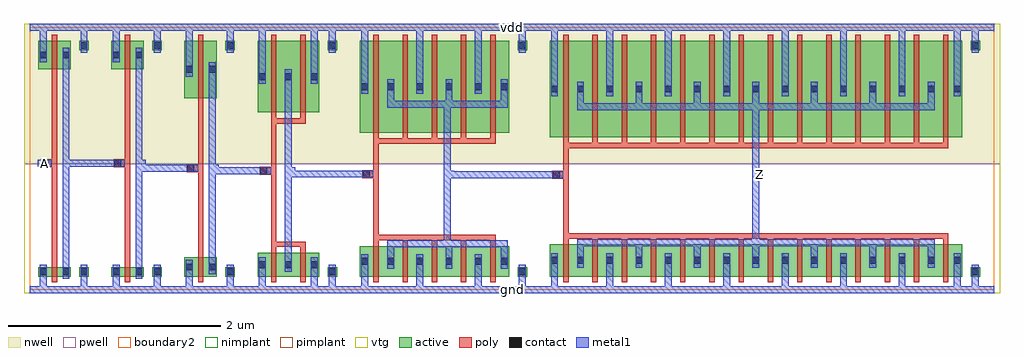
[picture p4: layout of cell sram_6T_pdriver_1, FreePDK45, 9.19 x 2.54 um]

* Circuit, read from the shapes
.subckt sram_6T_pdriver_1 A Z gnd vdd
M1 sram_6T_pinv_1_1/A A gnd gnd nfet w=0.09u l=0.05u
M2 sram_6T_pinv_8_2/A sram_6T_pinv_1_1/A gnd gnd nfet w=0.09u l=0.05u
M3 sram_6T_pinv_9_3/A sram_6T_pinv_8_2/A gnd gnd nfet w=0.18u l=0.05u
M4 sram_6T_pinv_10_4/A sram_6T_pinv_9_3/A gnd gnd nfet w=0.225u l=0.05u m=2
M5 sram_6T_pinv_11_5/A sram_6T_pinv_10_4/A gnd gnd nfet w=0.2875u l=0.05u m=5
M6 Z sram_6T_pinv_11_5/A gnd gnd nfet w=0.3025u l=0.05u m=14
M7 sram_6T_pinv_1_1/A A vdd vdd pfet w=0.27u l=0.05u
M8 sram_6T_pinv_8_2/A sram_6T_pinv_1_1/A vdd vdd pfet w=0.27u l=0.05u
M9 sram_6T_pinv_9_3/A sram_6T_pinv_8_2/A vdd vdd pfet w=0.54u l=0.05u
M10 sram_6T_pinv_10_4/A sram_6T_pinv_9_3/A vdd vdd pfet w=0.675u l=0.05u m=2
M11 sram_6T_pinv_11_5/A sram_6T_pinv_10_4/A vdd vdd pfet w=0.865u l=0.05u m=5
M12 Z sram_6T_pinv_11_5/A vdd vdd pfet w=0.9075u l=0.05u m=14
.ends

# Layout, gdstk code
import gdstk
lib = gdstk.Library(unit=1e-6, precision=5e-10)
def R(c, l, rs):  # rectangles x0, y0, x1, y1
    for r in rs: c.add(gdstk.rectangle(r[:2], r[2:], *l))
def A(c, l, x, y, w, h, nx, ny, dx, dy):  # array of equal rectangles
    R(c, l, [(x+i*dx, y+j*dy, x+i*dx+w, y+j*dy+h) for i in range(nx) for j in range(ny)])
active = (1, 0)
pwell = (2, 0)
nwell = (3, 0)
nimplant = (4, 0)
pimplant = (5, 0)
vtg = (6, 0)
poly = (9, 0)
contact = (10, 0)
metal1 = (11, 0)
boundary2 = (239, 0)

sram_6t_contact_11 = lib.new_cell('sram_6T_contact_11')
R(sram_6t_contact_11, active, [(0,0.0225,0.09,0.1125)])
R(sram_6t_contact_11, nwell, [(-0.055,-0.0325,0.145,0.1675)])
R(sram_6t_contact_11, pimplant, [(0,0.0225,0.09,0.1125)])
R(sram_6t_contact_11, contact, [(0.0125,0.035,0.0775,0.1)])
R(sram_6t_contact_11, metal1, [(0.0125,0,0.0775,0.135)])
R(sram_6t_contact_11, boundary2, [(-0.055,-0.0325,0.145,0.1675)])

sram_6t_pmos_m1_w0_270_s = lib.new_cell('sram_6T_pmos_m1_w0_270_sm1_dm1_da_p')
R(sram_6t_pmos_m1_w0_270_s, active, [(0,0,0.305,0.27)])
R(sram_6t_pmos_m1_w0_270_s, nwell, [(-0.08,-0.08,0.385,0.35)])
R(sram_6t_pmos_m1_w0_270_s, pimplant, [(0,0,0.305,0.27)])
R(sram_6t_pmos_m1_w0_270_s, vtg, [(-0.08,-0.08,0.385,0.35)])
R(sram_6t_pmos_m1_w0_270_s, poly, [(0.1275,-0.055,0.1775,0.325), (0.1275,-0.055,0.1775,0.325)])
R(sram_6t_pmos_m1_w0_270_s, metal1, [(0.0125,0.0675,0.0775,0.2025), (0.2275,0.0675,0.2925,0.2025)])
R(sram_6t_pmos_m1_w0_270_s, boundary2, [(-0.08,-0.08,0.385,0.35)])
sram_6t_pmos_m1_w0_270_s.add(gdstk.Reference(sram_6t_contact_11, (0,0.0675)))
sram_6t_pmos_m1_w0_270_s.add(gdstk.Reference(sram_6t_contact_11, (0.215,0.0675)))
sram_6t_pmos_m1_w0_270_s.add(gdstk.Label('G', (0.1525,0.135), layer=9, texttype=0))
sram_6t_pmos_m1_w0_270_s.add(gdstk.Label('S', (0.045,0.135), layer=11, texttype=0))
sram_6t_pmos_m1_w0_270_s.add(gdstk.Label('D', (0.26,0.135), layer=11, texttype=0))

sram_6t_contact_10 = lib.new_cell('sram_6T_contact_10')
R(sram_6t_contact_10, active, [(0,0.0225,0.09,0.1125)])
R(sram_6t_contact_10, pwell, [(-0.055,-0.0325,0.145,0.1675)])
R(sram_6t_contact_10, nimplant, [(0,0.0225,0.09,0.1125)])
R(sram_6t_contact_10, contact, [(0.0125,0.035,0.0775,0.1)])
R(sram_6t_contact_10, metal1, [(0.0125,0,0.0775,0.135)])
R(sram_6t_contact_10, boundary2, [(-0.055,-0.0325,0.145,0.1675)])

sram_6t_nmos_m1_w0_090_s = lib.new_cell('sram_6T_nmos_m1_w0_090_sm1_dm1_da_p')
R(sram_6t_nmos_m1_w0_090_s, active, [(0,0,0.305,0.09)])
R(sram_6t_nmos_m1_w0_090_s, pwell, [(-0.08,-0.08,0.385,0.17)])
R(sram_6t_nmos_m1_w0_090_s, nimplant, [(0,0,0.305,0.09)])
R(sram_6t_nmos_m1_w0_090_s, vtg, [(-0.08,-0.08,0.385,0.17)])
R(sram_6t_nmos_m1_w0_090_s, poly, [(0.1275,-0.055,0.1775,0.145), (0.1275,-0.055,0.1775,0.145)])
R(sram_6t_nmos_m1_w0_090_s, metal1, [(0.0125,-0.0225,0.0775,0.1125), (0.2275,-0.0225,0.2925,0.1125)])
R(sram_6t_nmos_m1_w0_090_s, boundary2, [(-0.08,-0.08,0.385,0.17)])
sram_6t_nmos_m1_w0_090_s.add(gdstk.Reference(sram_6t_contact_10, (0,-0.0225)))
sram_6t_nmos_m1_w0_090_s.add(gdstk.Reference(sram_6t_contact_10, (0.215,-0.0225)))
sram_6t_nmos_m1_w0_090_s.add(gdstk.Label('G', (0.1525,0.045), layer=9, texttype=0))
sram_6t_nmos_m1_w0_090_s.add(gdstk.Label('S', (0.045,0.045), layer=11, texttype=0))
sram_6t_nmos_m1_w0_090_s.add(gdstk.Label('D', (0.26,0.045), layer=11, texttype=0))

sram_6t_contact_12 = lib.new_cell('sram_6T_contact_12')
R(sram_6t_contact_12, active, [(0,0.0225,0.09,0.1125)])
R(sram_6t_contact_12, nwell, [(-0.055,-0.0325,0.145,0.1675)])
R(sram_6t_contact_12, nimplant, [(0,0.0225,0.09,0.1125)])
R(sram_6t_contact_12, contact, [(0.0125,0.035,0.0775,0.1)])
R(sram_6t_contact_12, metal1, [(0.0125,0,0.0775,0.135)])
R(sram_6t_contact_12, boundary2, [(-0.055,-0.0325,0.145,0.1675)])

sram_6t_contact_13 = lib.new_cell('sram_6T_contact_13')
R(sram_6t_contact_13, active, [(0,0.0225,0.09,0.1125)])
R(sram_6t_contact_13, pwell, [(-0.055,-0.0325,0.145,0.1675)])
R(sram_6t_contact_13, pimplant, [(0,0.0225,0.09,0.1125)])
R(sram_6t_contact_13, contact, [(0.0125,0.035,0.0775,0.1)])
R(sram_6t_contact_13, metal1, [(0.0125,0,0.0775,0.135)])
R(sram_6t_contact_13, boundary2, [(-0.055,-0.0325,0.145,0.1675)])

sram_6t_contact_14 = lib.new_cell('sram_6T_contact_14')
R(sram_6t_contact_14, poly, [(0.03,0,0.105,0.075)])
R(sram_6t_contact_14, contact, [(0.035,0.005,0.1,0.07)])
R(sram_6t_contact_14, metal1, [(0,0.005,0.135,0.07)])
R(sram_6t_contact_14, boundary2, [(0,0,0.135,0.075)])

sram_6t_pinv_1 = lib.new_cell('sram_6T_pinv_1')
R(sram_6t_pinv_1, pwell, [(-0.055,-0.0325,0.7425,1.185)])
R(sram_6t_pinv_1, nwell, [(-0.055,1.185,0.7425,2.505)])
R(sram_6t_pinv_1, vtg, [(-0.055,-0.0325,0.7425,1.185), (-0.055,1.185,0.7425,2.505)])
R(sram_6t_pinv_1, poly, [(0.2075,0.27,0.2575,2.02), (0.14,1.1525,0.2075,1.2275)])
R(sram_6t_pinv_1, metal1, [(0,-0.0325,0.6875,0.0325), (0.0925,-0.0325,0.1575,0.1025), (0.4775,0,0.5425,0.17), (0.3075,0.1025,0.3725,2.2775), (0.0725,1.1575,0.2075,1.2225), (0.34,1.1575,0.405,1.2225), (0.0925,2.1425,0.1575,2.5025), (0.4775,2.3,0.5425,2.47), (0,2.4375,0.6875,2.5025)])
R(sram_6t_pinv_1, boundary2, [(0,0,0.6875,2.47), (0,0,0.6875,2.47)])
sram_6t_pinv_1.add(gdstk.Reference(sram_6t_pmos_m1_w0_270_s, (0.08,2.075)))
sram_6t_pinv_1.add(gdstk.Reference(sram_6t_nmos_m1_w0_090_s, (0.08,0.125)))
sram_6t_pinv_1.add(gdstk.Reference(sram_6t_contact_12, (0.465,2.2325)))
sram_6t_pinv_1.add(gdstk.Reference(sram_6t_contact_13, (0.465,0.1025)))
sram_6t_pinv_1.add(gdstk.Reference(sram_6t_contact_14, (0.0725,1.1525)))
sram_6t_pinv_1.add(gdstk.Label('A', (0.14,1.19), layer=11, texttype=0))
sram_6t_pinv_1.add(gdstk.Label('Z', (0.3725,1.19), layer=11, texttype=0))
sram_6t_pinv_1.add(gdstk.Label('gnd', (0.344,0), layer=11, texttype=0))
sram_6t_pinv_1.add(gdstk.Label('vdd', (0.344,2.47), layer=11, texttype=0))

sram_6t_pmos_m1_w0_540_s = lib.new_cell('sram_6T_pmos_m1_w0_540_sm1_dm1_da_p')
R(sram_6t_pmos_m1_w0_540_s, active, [(0,0,0.305,0.54)])
R(sram_6t_pmos_m1_w0_540_s, nwell, [(-0.08,-0.08,0.385,0.62)])
R(sram_6t_pmos_m1_w0_540_s, pimplant, [(0,0,0.305,0.54)])
R(sram_6t_pmos_m1_w0_540_s, vtg, [(-0.08,-0.08,0.385,0.62)])
R(sram_6t_pmos_m1_w0_540_s, poly, [(0.1275,-0.055,0.1775,0.595), (0.1275,-0.055,0.1775,0.595)])
R(sram_6t_pmos_m1_w0_540_s, metal1, [(0.0125,0.2025,0.0775,0.3375), (0.2275,0.2025,0.2925,0.3375)])
R(sram_6t_pmos_m1_w0_540_s, boundary2, [(-0.08,-0.08,0.385,0.62)])
sram_6t_pmos_m1_w0_540_s.add(gdstk.Reference(sram_6t_contact_11, (0,0.2025)))
sram_6t_pmos_m1_w0_540_s.add(gdstk.Reference(sram_6t_contact_11, (0.215,0.2025)))
sram_6t_pmos_m1_w0_540_s.add(gdstk.Label('G', (0.1525,0.27), layer=9, texttype=0))
sram_6t_pmos_m1_w0_540_s.add(gdstk.Label('S', (0.045,0.27), layer=11, texttype=0))
sram_6t_pmos_m1_w0_540_s.add(gdstk.Label('D', (0.26,0.27), layer=11, texttype=0))

sram_6t_nmos_m1_w0_180_s = lib.new_cell('sram_6T_nmos_m1_w0_180_sm1_dm1_da_p')
R(sram_6t_nmos_m1_w0_180_s, active, [(0,0,0.305,0.18)])
R(sram_6t_nmos_m1_w0_180_s, pwell, [(-0.08,-0.08,0.385,0.26)])
R(sram_6t_nmos_m1_w0_180_s, nimplant, [(0,0,0.305,0.18)])
R(sram_6t_nmos_m1_w0_180_s, vtg, [(-0.08,-0.08,0.385,0.26)])
R(sram_6t_nmos_m1_w0_180_s, poly, [(0.1275,-0.055,0.1775,0.235), (0.1275,-0.055,0.1775,0.235)])
R(sram_6t_nmos_m1_w0_180_s, metal1, [(0.0125,0.0225,0.0775,0.1575), (0.2275,0.0225,0.2925,0.1575)])
R(sram_6t_nmos_m1_w0_180_s, boundary2, [(-0.08,-0.08,0.385,0.26)])
sram_6t_nmos_m1_w0_180_s.add(gdstk.Reference(sram_6t_contact_10, (0,0.0225)))
sram_6t_nmos_m1_w0_180_s.add(gdstk.Reference(sram_6t_contact_10, (0.215,0.0225)))
sram_6t_nmos_m1_w0_180_s.add(gdstk.Label('G', (0.1525,0.09), layer=9, texttype=0))
sram_6t_nmos_m1_w0_180_s.add(gdstk.Label('S', (0.045,0.09), layer=11, texttype=0))
sram_6t_nmos_m1_w0_180_s.add(gdstk.Label('D', (0.26,0.09), layer=11, texttype=0))

sram_6t_pinv_8 = lib.new_cell('sram_6T_pinv_8')
R(sram_6t_pinv_8, pwell, [(-0.055,-0.0325,0.7425,1.185)])
R(sram_6t_pinv_8, nwell, [(-0.055,1.185,0.7425,2.505)])
R(sram_6t_pinv_8, vtg, [(-0.055,-0.0325,0.7425,1.185), (-0.055,1.185,0.7425,2.505)])
R(sram_6t_pinv_8, poly, [(0.2075,0.36,0.2575,1.75), (0.14,1.1075,0.2075,1.1825)])
R(sram_6t_pinv_8, metal1, [(0,-0.0325,0.6875,0.0325), (0.0925,-0.0325,0.1575,0.1475), (0.4775,0,0.5425,0.17), (0.3075,0.1475,0.3725,2.1425), (0.0725,1.1125,0.2075,1.1775), (0.34,1.1125,0.405,1.1775), (0.0925,2.0075,0.1575,2.5025), (0.4775,2.3,0.5425,2.47), (0,2.4375,0.6875,2.5025)])
R(sram_6t_pinv_8, boundary2, [(0,0,0.6875,2.47), (0,0,0.6875,2.47)])
sram_6t_pinv_8.add(gdstk.Reference(sram_6t_pmos_m1_w0_540_s, (0.08,1.805)))
sram_6t_pinv_8.add(gdstk.Reference(sram_6t_nmos_m1_w0_180_s, (0.08,0.125)))
sram_6t_pinv_8.add(gdstk.Reference(sram_6t_contact_12, (0.465,2.2325)))
sram_6t_pinv_8.add(gdstk.Reference(sram_6t_contact_13, (0.465,0.1025)))
sram_6t_pinv_8.add(gdstk.Reference(sram_6t_contact_14, (0.0725,1.1075)))
sram_6t_pinv_8.add(gdstk.Label('A', (0.14,1.145), layer=11, texttype=0))
sram_6t_pinv_8.add(gdstk.Label('Z', (0.3725,1.145), layer=11, texttype=0))
sram_6t_pinv_8.add(gdstk.Label('gnd', (0.344,0), layer=11, texttype=0))
sram_6t_pinv_8.add(gdstk.Label('vdd', (0.344,2.47), layer=11, texttype=0))

sram_6t_pmos_m2_w0_675_s = lib.new_cell('sram_6T_pmos_m2_w0_675_sm1_dm1_da_p')
R(sram_6t_pmos_m2_w0_675_s, active, [(0,0,0.58,0.675)])
R(sram_6t_pmos_m2_w0_675_s, nwell, [(-0.08,-0.08,0.66,0.755)])
R(sram_6t_pmos_m2_w0_675_s, pimplant, [(0,0,0.58,0.675)])
R(sram_6t_pmos_m2_w0_675_s, vtg, [(-0.08,-0.08,0.66,0.755)])
R(sram_6t_pmos_m2_w0_675_s, poly, [(0.1275,-0.105,0.4525,-0.055), (0.1275,-0.055,0.1775,0.73), (0.4025,-0.055,0.4525,0.73)])
A(sram_6t_pmos_m2_w0_675_s, metal1, 0.0125, 0.27, 0.065, 0.135, 3, 1, 0.245, 0)
R(sram_6t_pmos_m2_w0_675_s, boundary2, [(-0.08,-0.105,0.66,0.755)])
sram_6t_pmos_m2_w0_675_s.add(gdstk.Reference(sram_6t_contact_11, (0,0.27)))
sram_6t_pmos_m2_w0_675_s.add(gdstk.Reference(sram_6t_contact_11, (0.245,0.27)))
sram_6t_pmos_m2_w0_675_s.add(gdstk.Reference(sram_6t_contact_11, (0.49,0.27)))
sram_6t_pmos_m2_w0_675_s.add(gdstk.Label('G', (0.29,-0.08), layer=9, texttype=0))
sram_6t_pmos_m2_w0_675_s.add(gdstk.Label('S', (0.045,0.3375), layer=11, texttype=0))
sram_6t_pmos_m2_w0_675_s.add(gdstk.Label('S', (0.535,0.3375), layer=11, texttype=0))
sram_6t_pmos_m2_w0_675_s.add(gdstk.Label('D', (0.29,0.3375), layer=11, texttype=0))

sram_6t_nmos_m2_w0_225_s = lib.new_cell('sram_6T_nmos_m2_w0_225_sm1_dm1_da_p')
R(sram_6t_nmos_m2_w0_225_s, active, [(0,0,0.58,0.225)])
R(sram_6t_nmos_m2_w0_225_s, pwell, [(-0.08,-0.08,0.66,0.305)])
R(sram_6t_nmos_m2_w0_225_s, nimplant, [(0,0,0.58,0.225)])
R(sram_6t_nmos_m2_w0_225_s, vtg, [(-0.08,-0.08,0.66,0.305)])
R(sram_6t_nmos_m2_w0_225_s, poly, [(0.1275,-0.055,0.1775,0.28), (0.4025,-0.055,0.4525,0.28), (0.1275,0.28,0.4525,0.33)])
A(sram_6t_nmos_m2_w0_225_s, metal1, 0.0125, 0.045, 0.065, 0.135, 3, 1, 0.245, 0)
R(sram_6t_nmos_m2_w0_225_s, boundary2, [(-0.08,-0.08,0.66,0.33)])
sram_6t_nmos_m2_w0_225_s.add(gdstk.Reference(sram_6t_contact_10, (0,0.045)))
sram_6t_nmos_m2_w0_225_s.add(gdstk.Reference(sram_6t_contact_10, (0.245,0.045)))
sram_6t_nmos_m2_w0_225_s.add(gdstk.Reference(sram_6t_contact_10, (0.49,0.045)))
sram_6t_nmos_m2_w0_225_s.add(gdstk.Label('G', (0.29,0.305), layer=9, texttype=0))
sram_6t_nmos_m2_w0_225_s.add(gdstk.Label('S', (0.045,0.1125), layer=11, texttype=0))
sram_6t_nmos_m2_w0_225_s.add(gdstk.Label('S', (0.535,0.1125), layer=11, texttype=0))
sram_6t_nmos_m2_w0_225_s.add(gdstk.Label('D', (0.29,0.1125), layer=11, texttype=0))

sram_6t_pinv_9 = lib.new_cell('sram_6T_pinv_9')
R(sram_6t_pinv_9, pwell, [(-0.055,-0.0325,1.0175,1.185)])
R(sram_6t_pinv_9, nwell, [(-0.055,1.185,1.0175,2.505)])
R(sram_6t_pinv_9, vtg, [(-0.055,-0.0325,1.0175,1.185), (-0.055,1.185,1.0175,2.505)])
R(sram_6t_pinv_9, poly, [(0.2075,0.455,0.2575,1.565), (0.14,1.085,0.2075,1.16)])
R(sram_6t_pinv_9, metal1, [(0,-0.0325,0.9625,0.0325), (0.0925,-0.0325,0.1575,0.17), (0.5825,-0.0325,0.6475,0.17), (0.7525,0,0.8175,0.17), (0.3375,0.17,0.4025,2.075), (0.0725,1.09,0.2075,1.155), (0.37,1.09,0.435,1.155), (0.0925,1.94,0.1575,2.5025), (0.5825,1.94,0.6475,2.5025), (0.7525,2.3,0.8175,2.47), (0,2.4375,0.9625,2.5025)])
R(sram_6t_pinv_9, boundary2, [(0,0,0.9625,2.47), (0,0,0.9625,2.47)])
sram_6t_pinv_9.add(gdstk.Reference(sram_6t_pmos_m2_w0_675_s, (0.08,1.67)))
sram_6t_pinv_9.add(gdstk.Reference(sram_6t_nmos_m2_w0_225_s, (0.08,0.125)))
sram_6t_pinv_9.add(gdstk.Reference(sram_6t_contact_12, (0.74,2.2325)))
sram_6t_pinv_9.add(gdstk.Reference(sram_6t_contact_13, (0.74,0.1025)))
sram_6t_pinv_9.add(gdstk.Reference(sram_6t_contact_14, (0.0725,1.085)))
sram_6t_pinv_9.add(gdstk.Label('A', (0.14,1.1225), layer=11, texttype=0))
sram_6t_pinv_9.add(gdstk.Label('Z', (0.4025,1.1225), layer=11, texttype=0))
sram_6t_pinv_9.add(gdstk.Label('gnd', (0.481,0), layer=11, texttype=0))
sram_6t_pinv_9.add(gdstk.Label('vdd', (0.481,2.47), layer=11, texttype=0))

sram_6t_pmos_m5_w0_865_s = lib.new_cell('sram_6T_pmos_m5_w0_865_sm1_dm1_da_p')
R(sram_6t_pmos_m5_w0_865_s, active, [(0,0,1.405,0.865)])
R(sram_6t_pmos_m5_w0_865_s, nwell, [(-0.08,-0.08,1.485,0.945)])
R(sram_6t_pmos_m5_w0_865_s, pimplant, [(0,0,1.405,0.865)])
R(sram_6t_pmos_m5_w0_865_s, vtg, [(-0.08,-0.08,1.485,0.945)])
A(sram_6t_pmos_m5_w0_865_s, poly, 0.1275, -0.055, 0.05, 0.975, 5, 1, 0.275, 0)
R(sram_6t_pmos_m5_w0_865_s, poly, [(0.1275,-0.105,1.2775,-0.055)])
R(sram_6t_pmos_m5_w0_865_s, metal1, [(0.2575,0.235,1.3925,0.3), (0.2575,0.2675,0.3225,0.4325), (0.8075,0.2675,0.8725,0.4325), (1.3275,0.2675,1.3925,0.4325), (0.0125,0.365,0.0775,0.5), (0.5325,0.365,0.5975,0.5), (1.0825,0.365,1.1475,0.5)])
R(sram_6t_pmos_m5_w0_865_s, boundary2, [(-0.08,-0.105,1.485,0.945)])
sram_6t_pmos_m5_w0_865_s.add(gdstk.Reference(sram_6t_contact_11, (0,0.365)))
sram_6t_pmos_m5_w0_865_s.add(gdstk.Reference(sram_6t_contact_11, (0.245,0.365)))
sram_6t_pmos_m5_w0_865_s.add(gdstk.Reference(sram_6t_contact_11, (0.52,0.365)))
sram_6t_pmos_m5_w0_865_s.add(gdstk.Reference(sram_6t_contact_11, (0.795,0.365)))
sram_6t_pmos_m5_w0_865_s.add(gdstk.Reference(sram_6t_contact_11, (1.07,0.365)))
sram_6t_pmos_m5_w0_865_s.add(gdstk.Reference(sram_6t_contact_11, (1.315,0.365)))
sram_6t_pmos_m5_w0_865_s.add(gdstk.Label('G', (0.7025,-0.08), layer=9, texttype=0))
sram_6t_pmos_m5_w0_865_s.add(gdstk.Label('S', (1.115,0.4325), layer=11, texttype=0))
sram_6t_pmos_m5_w0_865_s.add(gdstk.Label('S', (0.045,0.4325), layer=11, texttype=0))
sram_6t_pmos_m5_w0_865_s.add(gdstk.Label('S', (0.565,0.4325), layer=11, texttype=0))
sram_6t_pmos_m5_w0_865_s.add(gdstk.Label('D', (0.825,0.2675), layer=11, texttype=0))

sram_6t_nmos_m5_w0_288_s = lib.new_cell('sram_6T_nmos_m5_w0_288_sm1_dm1_da_p')
R(sram_6t_nmos_m5_w0_288_s, active, [(0,0,1.405,0.2875)])
R(sram_6t_nmos_m5_w0_288_s, pwell, [(-0.08,-0.08,1.485,0.3675)])
R(sram_6t_nmos_m5_w0_288_s, nimplant, [(0,0,1.405,0.2875)])
R(sram_6t_nmos_m5_w0_288_s, vtg, [(-0.08,-0.08,1.485,0.3675)])
A(sram_6t_nmos_m5_w0_288_s, poly, 0.1275, -0.055, 0.05, 0.3975, 5, 1, 0.275, 0)
R(sram_6t_nmos_m5_w0_288_s, poly, [(0.1275,0.3425,1.2775,0.3925)])
R(sram_6t_nmos_m5_w0_288_s, metal1, [(0.0125,0.075,0.0775,0.21), (0.5325,0.075,0.5975,0.21), (1.0825,0.075,1.1475,0.21), (0.2575,0.145,0.3225,0.31), (0.8075,0.145,0.8725,0.31), (1.3275,0.145,1.3925,0.31), (0.2575,0.275,1.3925,0.34)])
R(sram_6t_nmos_m5_w0_288_s, boundary2, [(-0.08,-0.08,1.485,0.3925)])
sram_6t_nmos_m5_w0_288_s.add(gdstk.Reference(sram_6t_contact_10, (0,0.075)))
sram_6t_nmos_m5_w0_288_s.add(gdstk.Reference(sram_6t_contact_10, (0.245,0.075)))
sram_6t_nmos_m5_w0_288_s.add(gdstk.Reference(sram_6t_contact_10, (0.52,0.075)))
sram_6t_nmos_m5_w0_288_s.add(gdstk.Reference(sram_6t_contact_10, (0.795,0.075)))
sram_6t_nmos_m5_w0_288_s.add(gdstk.Reference(sram_6t_contact_10, (1.07,0.075)))
sram_6t_nmos_m5_w0_288_s.add(gdstk.Reference(sram_6t_contact_10, (1.315,0.075)))
sram_6t_nmos_m5_w0_288_s.add(gdstk.Label('G', (0.7025,0.3675), layer=9, texttype=0))
sram_6t_nmos_m5_w0_288_s.add(gdstk.Label('S', (0.045,0.1425), layer=11, texttype=0))
sram_6t_nmos_m5_w0_288_s.add(gdstk.Label('S', (1.115,0.1425), layer=11, texttype=0))
sram_6t_nmos_m5_w0_288_s.add(gdstk.Label('S', (0.565,0.1425), layer=11, texttype=0))
sram_6t_nmos_m5_w0_288_s.add(gdstk.Label('D', (0.825,0.3075), layer=11, texttype=0))

sram_6t_pinv_10 = lib.new_cell('sram_6T_pinv_10')
R(sram_6t_pinv_10, pwell, [(-0.055,-0.0325,1.8425,1.185)])
R(sram_6t_pinv_10, nwell, [(-0.055,1.185,1.8425,2.505)])
R(sram_6t_pinv_10, vtg, [(-0.055,-0.0325,1.8425,1.185), (-0.055,1.185,1.8425,2.505)])
R(sram_6t_pinv_10, poly, [(0.2075,0.5175,0.2575,1.375), (0.14,1.0525,0.2075,1.1275)])
R(sram_6t_pinv_10, metal1, [(0,-0.0325,1.7875,0.0325), (0.0925,-0.0325,0.1575,0.2), (0.6125,-0.0325,0.6775,0.2), (1.1625,-0.0325,1.2275,0.2), (1.5775,0,1.6425,0.17), (0.8725,0.4,0.9375,1.78), (0.0725,1.0575,0.2075,1.1225), (0.905,1.0575,0.97,1.1225), (0.0925,1.845,0.1575,2.5025), (0.6125,1.845,0.6775,2.5025), (1.1625,1.845,1.2275,2.5025), (1.5775,2.3,1.6425,2.47), (0,2.4375,1.7875,2.5025)])
R(sram_6t_pinv_10, boundary2, [(0,0,1.7875,2.47), (0,0,1.7875,2.47)])
sram_6t_pinv_10.add(gdstk.Reference(sram_6t_pmos_m5_w0_865_s, (0.08,1.48)))
sram_6t_pinv_10.add(gdstk.Reference(sram_6t_nmos_m5_w0_288_s, (0.08,0.125)))
sram_6t_pinv_10.add(gdstk.Reference(sram_6t_contact_12, (1.565,2.2325)))
sram_6t_pinv_10.add(gdstk.Reference(sram_6t_contact_13, (1.565,0.1025)))
sram_6t_pinv_10.add(gdstk.Reference(sram_6t_contact_14, (0.0725,1.0525)))
sram_6t_pinv_10.add(gdstk.Label('A', (0.14,1.09), layer=11, texttype=0))
sram_6t_pinv_10.add(gdstk.Label('Z', (0.9375,1.09), layer=11, texttype=0))
sram_6t_pinv_10.add(gdstk.Label('gnd', (0.894,0), layer=11, texttype=0))
sram_6t_pinv_10.add(gdstk.Label('vdd', (0.894,2.47), layer=11, texttype=0))

sram_6t_pmos_m14_w0_907_ = lib.new_cell('sram_6T_pmos_m14_w0_907_sm1_dm1_da_p')
R(sram_6t_pmos_m14_w0_907_, active, [(0,0,3.88,0.9075)])
R(sram_6t_pmos_m14_w0_907_, nwell, [(-0.08,-0.08,3.96,0.9875)])
R(sram_6t_pmos_m14_w0_907_, pimplant, [(0,0,3.88,0.9075)])
R(sram_6t_pmos_m14_w0_907_, vtg, [(-0.08,-0.08,3.96,0.9875)])
A(sram_6t_pmos_m14_w0_907_, poly, 0.1275, -0.055, 0.05, 1.0175, 14, 1, 0.275, 0)
R(sram_6t_pmos_m14_w0_907_, poly, [(0.1275,-0.105,3.7525,-0.055)])
A(sram_6t_pmos_m14_w0_907_, metal1, 0.2575, 0.29, 0.065, 0.165, 7, 1, 0.55, 0)
A(sram_6t_pmos_m14_w0_907_, metal1, 0.5325, 0.385, 0.065, 0.135, 6, 1, 0.55, 0)
R(sram_6t_pmos_m14_w0_907_, metal1, [(0.2575,0.255,3.6225,0.32), (0.0125,0.385,0.0775,0.52), (3.8025,0.385,3.8675,0.52)])
R(sram_6t_pmos_m14_w0_907_, boundary2, [(-0.08,-0.105,3.96,0.9875)])
sram_6t_pmos_m14_w0_907_.add(gdstk.Reference(sram_6t_contact_11, (0,0.385)))
sram_6t_pmos_m14_w0_907_.add(gdstk.Reference(sram_6t_contact_11, (0.245,0.385)))
sram_6t_pmos_m14_w0_907_.add(gdstk.Reference(sram_6t_contact_11, (0.52,0.385)))
sram_6t_pmos_m14_w0_907_.add(gdstk.Reference(sram_6t_contact_11, (0.795,0.385)))
sram_6t_pmos_m14_w0_907_.add(gdstk.Reference(sram_6t_contact_11, (1.07,0.385)))
sram_6t_pmos_m14_w0_907_.add(gdstk.Reference(sram_6t_contact_11, (1.345,0.385)))
sram_6t_pmos_m14_w0_907_.add(gdstk.Reference(sram_6t_contact_11, (1.62,0.385)))
sram_6t_pmos_m14_w0_907_.add(gdstk.Reference(sram_6t_contact_11, (1.895,0.385)))
sram_6t_pmos_m14_w0_907_.add(gdstk.Reference(sram_6t_contact_11, (2.17,0.385)))
sram_6t_pmos_m14_w0_907_.add(gdstk.Reference(sram_6t_contact_11, (2.445,0.385)))
sram_6t_pmos_m14_w0_907_.add(gdstk.Reference(sram_6t_contact_11, (2.72,0.385)))
sram_6t_pmos_m14_w0_907_.add(gdstk.Reference(sram_6t_contact_11, (2.995,0.385)))
sram_6t_pmos_m14_w0_907_.add(gdstk.Reference(sram_6t_contact_11, (3.27,0.385)))
sram_6t_pmos_m14_w0_907_.add(gdstk.Reference(sram_6t_contact_11, (3.545,0.385)))
sram_6t_pmos_m14_w0_907_.add(gdstk.Reference(sram_6t_contact_11, (3.79,0.385)))
sram_6t_pmos_m14_w0_907_.add(gdstk.Label('G', (1.94,-0.08), layer=9, texttype=0))
sram_6t_pmos_m14_w0_907_.add(gdstk.Label('S', (2.215,0.4525), layer=11, texttype=0))
sram_6t_pmos_m14_w0_907_.add(gdstk.Label('S', (0.045,0.4525), layer=11, texttype=0))
sram_6t_pmos_m14_w0_907_.add(gdstk.Label('S', (0.565,0.4525), layer=11, texttype=0))
sram_6t_pmos_m14_w0_907_.add(gdstk.Label('S', (3.835,0.4525), layer=11, texttype=0))
sram_6t_pmos_m14_w0_907_.add(gdstk.Label('S', (1.115,0.4525), layer=11, texttype=0))
sram_6t_pmos_m14_w0_907_.add(gdstk.Label('S', (2.765,0.4525), layer=11, texttype=0))
sram_6t_pmos_m14_w0_907_.add(gdstk.Label('S', (3.315,0.4525), layer=11, texttype=0))
sram_6t_pmos_m14_w0_907_.add(gdstk.Label('S', (1.665,0.4525), layer=11, texttype=0))
sram_6t_pmos_m14_w0_907_.add(gdstk.Label('D', (1.94,0.2875), layer=11, texttype=0))

sram_6t_nmos_m14_w0_302_ = lib.new_cell('sram_6T_nmos_m14_w0_302_sm1_dm1_da_p')
R(sram_6t_nmos_m14_w0_302_, active, [(0,0,3.88,0.3025)])
R(sram_6t_nmos_m14_w0_302_, pwell, [(-0.08,-0.08,3.96,0.3825)])
R(sram_6t_nmos_m14_w0_302_, nimplant, [(0,0,3.88,0.3025)])
R(sram_6t_nmos_m14_w0_302_, vtg, [(-0.08,-0.08,3.96,0.3825)])
A(sram_6t_nmos_m14_w0_302_, poly, 0.1275, -0.055, 0.05, 0.4125, 14, 1, 0.275, 0)
R(sram_6t_nmos_m14_w0_302_, poly, [(0.1275,0.3575,3.7525,0.4075)])
A(sram_6t_nmos_m14_w0_302_, metal1, 0.5325, 0.085, 0.065, 0.135, 6, 1, 0.55, 0)
A(sram_6t_nmos_m14_w0_302_, metal1, 0.2575, 0.15, 0.065, 0.165, 7, 1, 0.55, 0)
R(sram_6t_nmos_m14_w0_302_, metal1, [(0.0125,0.085,0.0775,0.22), (3.8025,0.085,3.8675,0.22), (0.2575,0.285,3.6225,0.35)])
R(sram_6t_nmos_m14_w0_302_, boundary2, [(-0.08,-0.08,3.96,0.4075)])
sram_6t_nmos_m14_w0_302_.add(gdstk.Reference(sram_6t_contact_10, (0,0.085)))
sram_6t_nmos_m14_w0_302_.add(gdstk.Reference(sram_6t_contact_10, (0.245,0.085)))
sram_6t_nmos_m14_w0_302_.add(gdstk.Reference(sram_6t_contact_10, (0.52,0.085)))
sram_6t_nmos_m14_w0_302_.add(gdstk.Reference(sram_6t_contact_10, (0.795,0.085)))
sram_6t_nmos_m14_w0_302_.add(gdstk.Reference(sram_6t_contact_10, (1.07,0.085)))
sram_6t_nmos_m14_w0_302_.add(gdstk.Reference(sram_6t_contact_10, (1.345,0.085)))
sram_6t_nmos_m14_w0_302_.add(gdstk.Reference(sram_6t_contact_10, (1.62,0.085)))
sram_6t_nmos_m14_w0_302_.add(gdstk.Reference(sram_6t_contact_10, (1.895,0.085)))
sram_6t_nmos_m14_w0_302_.add(gdstk.Reference(sram_6t_contact_10, (2.17,0.085)))
sram_6t_nmos_m14_w0_302_.add(gdstk.Reference(sram_6t_contact_10, (2.445,0.085)))
sram_6t_nmos_m14_w0_302_.add(gdstk.Reference(sram_6t_contact_10, (2.72,0.085)))
sram_6t_nmos_m14_w0_302_.add(gdstk.Reference(sram_6t_contact_10, (2.995,0.085)))
sram_6t_nmos_m14_w0_302_.add(gdstk.Reference(sram_6t_contact_10, (3.27,0.085)))
sram_6t_nmos_m14_w0_302_.add(gdstk.Reference(sram_6t_contact_10, (3.545,0.085)))
sram_6t_nmos_m14_w0_302_.add(gdstk.Reference(sram_6t_contact_10, (3.79,0.085)))
sram_6t_nmos_m14_w0_302_.add(gdstk.Label('G', (1.94,0.3825), layer=9, texttype=0))
sram_6t_nmos_m14_w0_302_.add(gdstk.Label('S', (2.215,0.1525), layer=11, texttype=0))
sram_6t_nmos_m14_w0_302_.add(gdstk.Label('S', (0.565,0.1525), layer=11, texttype=0))
sram_6t_nmos_m14_w0_302_.add(gdstk.Label('S', (2.765,0.1525), layer=11, texttype=0))
sram_6t_nmos_m14_w0_302_.add(gdstk.Label('S', (0.045,0.1525), layer=11, texttype=0))
sram_6t_nmos_m14_w0_302_.add(gdstk.Label('S', (3.835,0.1525), layer=11, texttype=0))
sram_6t_nmos_m14_w0_302_.add(gdstk.Label('S', (1.115,0.1525), layer=11, texttype=0))
sram_6t_nmos_m14_w0_302_.add(gdstk.Label('S', (1.665,0.1525), layer=11, texttype=0))
sram_6t_nmos_m14_w0_302_.add(gdstk.Label('S', (3.315,0.1525), layer=11, texttype=0))
sram_6t_nmos_m14_w0_302_.add(gdstk.Label('D', (1.94,0.3175), layer=11, texttype=0))

sram_6t_pinv_11 = lib.new_cell('sram_6T_pinv_11')
R(sram_6t_pinv_11, pwell, [(-0.055,-0.0325,4.3175,1.185)])
R(sram_6t_pinv_11, nwell, [(-0.055,1.185,4.3175,2.505)])
R(sram_6t_pinv_11, vtg, [(-0.055,-0.0325,4.3175,1.185), (-0.055,1.185,4.3175,2.505)])
R(sram_6t_pinv_11, poly, [(0.2075,0.5325,0.2575,1.3325), (0.14,1.045,0.2075,1.12)])
A(sram_6t_pinv_11, metal1, 0.6125, -0.0325, 0.065, 0.2425, 6, 1, 0.55, 0)
A(sram_6t_pinv_11, metal1, 0.6125, 1.8225, 0.065, 0.68, 6, 1, 0.55, 0)
R(sram_6t_pinv_11, metal1, [(0,-0.0325,4.2625,0.0325), (0.0925,-0.0325,0.1575,0.21), (3.8825,-0.0325,3.9475,0.21), (4.0525,0,4.1175,0.17), (1.9875,0.41,2.0525,1.7575), (0.0725,1.05,0.2075,1.115), (2.02,1.05,2.085,1.115), (0.0925,1.8225,0.1575,2.5025), (3.8825,1.8225,3.9475,2.5025), (4.0525,2.3,4.1175,2.47), (0,2.4375,4.2625,2.5025)])
R(sram_6t_pinv_11, boundary2, [(0,0,4.2625,2.47), (0,0,4.2625,2.47)])
sram_6t_pinv_11.add(gdstk.Reference(sram_6t_pmos_m14_w0_907_, (0.08,1.4375)))
sram_6t_pinv_11.add(gdstk.Reference(sram_6t_nmos_m14_w0_302_, (0.08,0.125)))
sram_6t_pinv_11.add(gdstk.Reference(sram_6t_contact_12, (4.04,2.2325)))
sram_6t_pinv_11.add(gdstk.Reference(sram_6t_contact_13, (4.04,0.1025)))
sram_6t_pinv_11.add(gdstk.Reference(sram_6t_contact_14, (0.0725,1.045)))
sram_6t_pinv_11.add(gdstk.Label('A', (0.14,1.0825), layer=11, texttype=0))
sram_6t_pinv_11.add(gdstk.Label('Z', (2.0525,1.0825), layer=11, texttype=0))
sram_6t_pinv_11.add(gdstk.Label('gnd', (2.131,0), layer=11, texttype=0))
sram_6t_pinv_11.add(gdstk.Label('vdd', (2.131,2.47), layer=11, texttype=0))

sram_6t_pdriver_1 = lib.new_cell('sram_6T_pdriver_1')
R(sram_6t_pdriver_1, pwell, [(-0.055,-0.0325,9.13,1.185)])
R(sram_6t_pdriver_1, nwell, [(-0.055,1.185,9.13,2.505)])
R(sram_6t_pdriver_1, vtg, [(-0.055,-0.0325,9.13,1.185), (-0.055,1.185,9.13,2.505)])
R(sram_6t_pdriver_1, metal1, [(0,-0.0325,9.075,0.0325), (3.93,1.05,3.995,1.115), (3.9625,1.05,4.9525,1.115), (6.8325,1.05,6.8975,1.115), (2.4325,1.0575,2.4975,1.1225), (2.465,1.0575,3.165,1.1225), (3.93,1.0825,3.995,1.09), (1.715,1.09,1.78,1.155), (1.7475,1.09,2.2025,1.155), (2.4325,1.09,2.4975,1.1225), (1.0275,1.1125,1.0925,1.1775), (1.06,1.1125,1.515,1.1775), (1.715,1.1225,1.78,1.145), (1.0275,1.145,1.0925,1.19), (0.0725,1.1575,0.2075,1.2225), (0.3725,1.1575,0.8275,1.2225), (0,2.4375,9.075,2.5025)])
R(sram_6t_pdriver_1, boundary2, [(0,0,9.075,2.47), (0,0,9.075,2.47)])
sram_6t_pdriver_1.add(gdstk.Reference(sram_6t_pinv_1, (0,0)))
sram_6t_pdriver_1.add(gdstk.Reference(sram_6t_pinv_1, (0.6875,0)))
sram_6t_pdriver_1.add(gdstk.Reference(sram_6t_pinv_8, (1.375,0)))
sram_6t_pdriver_1.add(gdstk.Reference(sram_6t_pinv_9, (2.0625,0)))
sram_6t_pdriver_1.add(gdstk.Reference(sram_6t_pinv_10, (3.025,0)))
sram_6t_pdriver_1.add(gdstk.Reference(sram_6t_pinv_11, (4.8125,0)))
sram_6t_pdriver_1.add(gdstk.Label('Z', (6.865,1.0825), layer=11, texttype=0))
sram_6t_pdriver_1.add(gdstk.Label('A', (0.14,1.19), layer=11, texttype=0))
sram_6t_pdriver_1.add(gdstk.Label('gnd', (4.5375,0), layer=11, texttype=0))
sram_6t_pdriver_1.add(gdstk.Label('vdd', (4.5375,2.47), layer=11, texttype=0))

lib.write_gds('sram_6T_pdriver_1.gds')
